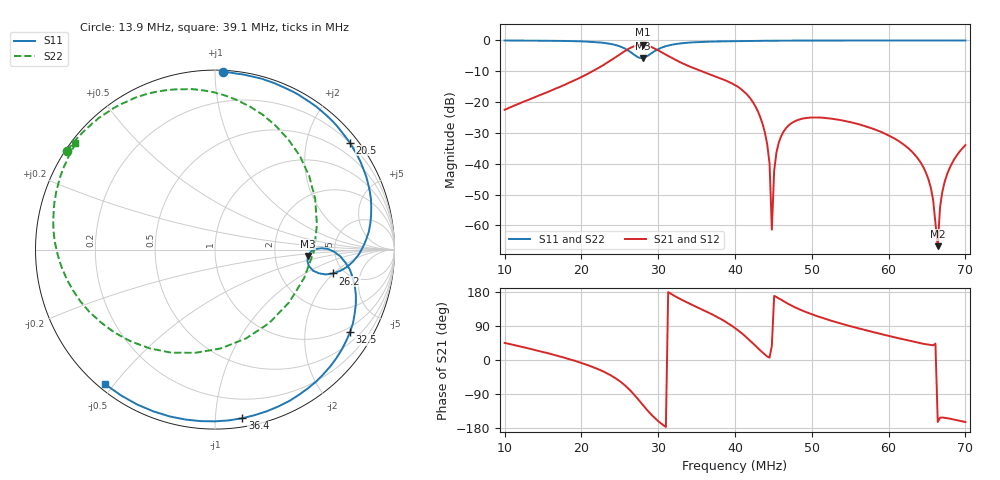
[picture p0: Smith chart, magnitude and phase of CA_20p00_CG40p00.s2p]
#  HZ  S  RI  R  50.00
! Rohde & Schwarz ZVT8 8Ports - Version 4.11 - 1300.0000k08 SN: 100242
! Date: 2026-07-31 14:27:56
! Measurements: S11 S21 S12 S22
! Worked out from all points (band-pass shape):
!   201 points, 10 MHz to 70 MHz, reference 50 ohm
!   highest |S21| = -1.42 dB at 28 MHz (marker M1); lowest = -66.8 dB at 66.4 MHz (marker M2)
!   |S21| within 3 dB of the highest: 25.08 MHz to 30.84 MHz (5.763 MHz wide, 20.6 % of centre)
!   lowest |S11| = -5.7 dB at 28 MHz (marker M3), VSWR 3.16, Z = 156 - j15.3 ohm
!   |S11| at or under -10 dB: nowhere
!   |S22| runs from -5.9 to 0.0 dB; largest |S21 - S12| = 0.0033
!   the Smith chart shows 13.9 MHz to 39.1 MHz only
!   S11 on the Smith chart (normalised r, x): 13.9 MHz: 0.01, +1.05; 20.5 MHz: 0.19, +2.86; 26.2 MHz: 4.08, -1.98; 32.5 MHz: 0.82, -3.38; 36.4 MHz: 0.06, -1.17; 39.1 MHz: 0.02, -0.47
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1e7  -0.4065 0.9095  0.0529 0.0532  0.0524 0.0531  -0.9165 0.3906
1.39e7  0.0446 0.989  0.1068 0.0535  0.1066 0.0536  -0.824 0.5503
2.02e7  0.7257 0.6298  0.2588 -0.0413  0.2579 -0.0413  -0.5008 0.82
2.05e7  0.7512 0.5965  0.2685 -0.0524  0.2665 -0.0528  -0.4747 0.8323
2.62e7  0.6582 -0.1329  0.1634 -0.7174  0.1641 -0.7158  0.5247 0.41
2.8e7  0.5177 -0.0357  -0.41 -0.7442  -0.4071 -0.7459  0.3003 -0.4108
3.01e7  0.727 -0.0729  -0.6484 -0.1984  -0.6465 -0.1994  -0.5627 -0.4605
3.25e7  0.753 -0.4583  -0.4502 0.1213  -0.4504 0.1219  -0.8804 -0.0132
3.64e7  0.1524 -0.9393  -0.1731 0.2327  -0.1735 0.2331  -0.8566 0.4211
3.91e7  -0.6139 -0.7485  -0.0251 0.2131  -0.0253 0.2131  -0.7774 0.5913
4e7  -0.8506 -0.4692  0.0184 0.1875  0.0186 0.1874  -0.7472 0.6349
4.18e7  -0.8768 0.4356  0.0721 0.0993  0.0718 0.0995  -0.6864 0.7129
4.39e7  0.1961 0.9671  0.0307 0.00795  0.0305 0.0079  -0.6066 0.7912
4.45e7  0.5103 0.8459  0.00997 0.00109  0.01 0.00109  -0.5835 0.8097
4.48e7  0.6376 0.7554  0.000671 0.000525  0.000684 0.0006  -0.5713 0.8175
4.57e7  0.8956 0.4213  -0.021 0.00666  -0.0209 0.00653  -0.5353 0.8419
5.02e7  0.5999 -0.7923  -0.0274 0.0491  -0.0275 0.0488  -0.3635 0.9269
6.01e7  -0.7936 -0.6011  0.0127 0.0253  0.0127 0.0253  0.0153 0.9965
6.49e7  -0.9966 -0.0405  0.00522 0.00461  0.00521 0.0046  0.2007 0.9772
6.64e7  -0.987 0.1415  -0.00044 -0.000131  -0.000454 -0.000148  0.2601 0.9623
6.73e7  -0.9648 0.2488  -0.0045 -0.00234  -0.00451 -0.00234  0.2942 0.9535
7e7  -0.8349 0.5439  -0.0192 -0.00564  -0.0193 -0.00561  0.3959 0.9156
